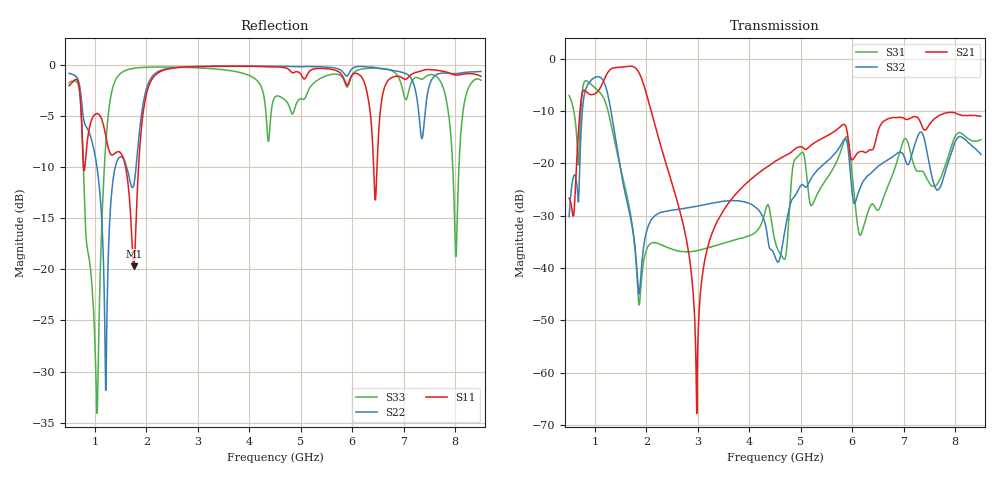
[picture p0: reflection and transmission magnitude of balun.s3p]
!Pin4-Port1
!Pin3-Port2
!Pin1-Port3
!Agilent Technologies,E5071C,MY46103155,A.09.41
!Date: Tue Nov 30 17:52:32 2010
!Data & Calibration Information:
!Freq	S11:SOLT3(ON)	S12:SOLT3(ON)	S13:SOLT3(ON)
!	S21:SOLT3(ON)	S22:SOLT3(ON)	S23:SOLT3(ON)
!	S31:SOLT3(ON)	S32:SOLT3(ON)	S33:SOLT3(ON)
# Hz S dB R 50
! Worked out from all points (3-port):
!   801 points, 500 MHz to 8.5 GHz, reference 50 ohm
!   strongest paths, dB at 500 MHz, 2.5 GHz, 4.5 GHz, 6.5 GHz, 8.5 GHz:
!     S21: -26.7, -23.9, -19.7, -13.9, -11.0
!     S32: -30.2, -29.0, -37.8, -20.6, -18.3
!     S31: -7.0, -36.4, -34.8, -29.0, -15.5
!   lowest |S11| = -19.7 dB at 1.76 GHz (marker M1), VSWR 1.23, Z = 40.6 - j0.126 ohm
!   |S11| at or under -10 dB: 781.8 MHz to 805 MHz (23.2 MHz wide, 2.92 % of centre); 1.598 GHz to 1.849 GHz (250.6 MHz wide, 14.5 % of centre); 6.416 GHz to 6.482 GHz (65.94 MHz wide, 1.02 % of centre)
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5e8  -2.04 92.9  -26.67 29.9  -7.03 -109.2
     -26.67 29.9  -0.81 121.2  -30.20 80.7
     -7.03 -109.1  -30.21 80.8  -1.74 -135.5
7.1e8  -2.75 17.3  -10.13 104.1  -13.73 -68.4
       -10.13 104.1  -2.21 55.9  -19.33 109.5
       -13.74 -68.5  -19.34 109.5  -2.93 125.0
1.03e9  -4.75 9.1  -6.51 -1.1  -5.81 123.4
        -6.51 -1.1  -9.62 -0.3  -3.47 -66.6
        -5.81 123.4  -3.47 -66.6  -32.23 -59.4
1.36e9  -8.75 -24.9  -1.78 -62.9  -14.61 -53.3
        -1.78 -62.9  -10.98 59.2  -12.69 151.0
        -14.62 -53.3  -12.70 151.0  -2.00 -22.1
1.76e9  -19.69 -179.2  -1.58 -163.5  -34.44 173.3
        -1.58 -163.5  -11.66 23.2  -34.37 120.0
        -34.48 173.4  -34.37 119.9  -0.32 -103.0
2.16e9  -1.06 -7.2  -12.42 84.3  -35.15 -145.0
        -12.42 84.4  -0.89 -22.4  -30.05 -165.9
        -35.18 -144.6  -30.05 -166.0  -0.20 -134.9
2.98e9  -0.15 -76.4  -66.48 121.5  -36.70 150.3
        -67.78 123.8  -0.16 -89.2  -28.20 137.2
        -36.68 150.1  -28.19 137.2  -0.28 -173.7
4.5e9  -0.18 -123.4  -19.67 138.5  -34.87 -97.7
       -19.66 138.5  -0.12 -139.2  -37.78 101.0
       -34.81 -97.7  -37.80 101.2  -3.13 71.2
5.28e9  -0.36 -141.9  -16.00 118.0  -26.79 129.1
        -16.00 118.0  -0.16 -157.7  -21.79 135.1
        -26.79 129.3  -21.79 135.1  -1.64 -98.2
8.5e9  -1.09 144.9  -11.01 53.3  -15.47 47.1
       -11.01 53.0  -0.63 156.1  -18.28 65.0
       -15.46 46.9  -18.29 65.1  -1.48 168.8
